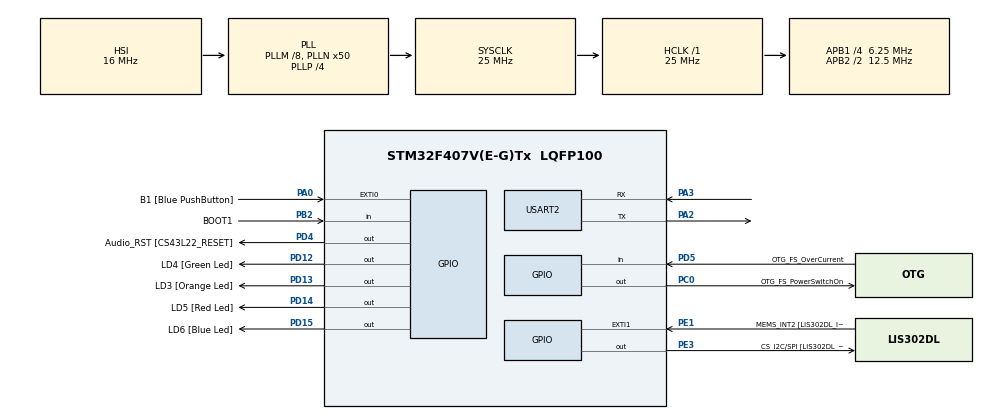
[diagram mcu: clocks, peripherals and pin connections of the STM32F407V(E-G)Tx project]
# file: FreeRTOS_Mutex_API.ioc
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Mcu.Family=STM32F4
Mcu.Name=STM32F407V(E-G)Tx
Mcu.Package=LQFP100
NVIC.PriorityGroup=NVIC_PRIORITYGROUP_4
NVIC.TIM6_DAC_IRQn=true\:0\:0\:false\:false\:true\:false\:true
NVIC.TimeBase=TIM6_DAC_IRQn
NVIC.TimeBaseIP=TIM6
PA0-WKUP.GPIO_Label=B1 [Blue PushButton]
PA0-WKUP.Signal=GPXTI0
PA10.GPIO_Label=OTG_FS_ID
PA10.GPIO_Mode=GPIO_MODE_AF_PP
PA10.GPIO_PuPd=GPIO_NOPULL
PA10.GPIO_Speed=GPIO_SPEED_FREQ_LOW
PA10.Signal=USB_OTG_FS_ID
PA11.GPIO_Label=OTG_FS_DM
PA11.GPIO_Mode=GPIO_MODE_AF_PP
PA11.GPIO_PuPd=GPIO_NOPULL
PA11.GPIO_Speed=GPIO_SPEED_FREQ_LOW
PA11.Signal=USB_OTG_FS_DM
PA12.GPIO_Label=OTG_FS_DP
PA12.GPIO_Mode=GPIO_MODE_AF_PP
PA12.GPIO_PuPd=GPIO_NOPULL
PA12.GPIO_Speed=GPIO_SPEED_FREQ_LOW
PA12.Signal=USB_OTG_FS_DP
PA13.GPIO_Label=SWDIO
PA13.Signal=SYS_JTMS-SWDIO
PA14.GPIO_Label=SWCLK
PA14.Signal=SYS_JTCK-SWCLK
PA2.Mode=Asynchronous
PA2.Signal=USART2_TX
PA3.Mode=Asynchronous
PA3.Signal=USART2_RX
PA4.GPIO_Label=I2S3_WS [CS43L22_LRCK]
PA4.GPIO_Mode=GPIO_MODE_AF_PP
PA4.GPIO_PuPd=GPIO_NOPULL
PA4.GPIO_Speed=GPIO_SPEED_FREQ_LOW
PA4.Signal=I2S3_WS
PA5.GPIO_Label=SPI1_SCK [LIS302DL_SCL/SPC]
PA5.GPIO_Mode=GPIO_MODE_AF_PP
PA5.GPIO_PuPd=GPIO_NOPULL
PA5.GPIO_Speed=GPIO_SPEED_FREQ_LOW
PA5.Signal=SPI1_SCK
PA6.GPIO_Label=SPI1_MISO [LIS302DL_SDO]
PA6.GPIO_Mode=GPIO_MODE_AF_PP
PA6.GPIO_PuPd=GPIO_NOPULL
PA6.GPIO_Speed=GPIO_SPEED_FREQ_LOW
PA6.Signal=SPI1_MISO
PA7.GPIO_Label=SPI1_MOSI [LIS302DL_SDA/SDI/SDO]
PA7.GPIO_Mode=GPIO_MODE_AF_PP
PA7.GPIO_PuPd=GPIO_NOPULL
PA7.GPIO_Speed=GPIO_SPEED_FREQ_LOW
PA7.Signal=SPI1_MOSI
PA9.GPIO_Label=VBUS_FS
PA9.GPIO_Mode=GPIO_MODE_INPUT
PA9.GPIO_PuPd=GPIO_NOPULL
PA9.Signal=USB_OTG_FS_VBUS
PB10.GPIO_Label=CLK_IN [MP45DT02_CLK]
PB10.GPIO_Mode=GPIO_MODE_AF_PP
PB10.GPIO_PuPd=GPIO_NOPULL
PB10.GPIO_Speed=GPIO_SPEED_FREQ_LOW
PB10.Signal=I2S2_CK
PB2.GPIO_Label=BOOT1
PB2.GPIO_Mode=GPIO_MODE_INPUT
PB2.GPIO_PuPd=GPIO_NOPULL
PB2.Signal=GPIO_Input
PB3.GPIO_Label=SWO
PB3.Signal=SYS_JTDO-SWO
PB6.GPIO_Label=Audio_SCL [CS43L22_SCL]
PB6.GPIO_Mode=GPIO_MODE_AF_OD
PB6.GPIO_PuPd=GPIO_NOPULL
PB6.GPIO_Speed=GPIO_SPEED_FREQ_LOW
PB6.Signal=I2C1_SCL
PB9.GPIO_Label=Audio_SDA [CS43L22_SDA]
PB9.GPIO_Mode=GPIO_MODE_AF_OD
PB9.GPIO_PuPd=GPIO_NOPULL
PB9.GPIO_Speed=GPIO_SPEED_FREQ_LOW
PB9.Signal=I2C1_SDA
PC0.GPIO_Label=OTG_FS_PowerSwitchOn
PC0.GPIO_PuPd=GPIO_NOPULL
PC0.GPIO_Speed=GPIO_SPEED_FREQ_LOW
PC0.PinState=GPIO_PIN_SET
PC0.Signal=GPIO_Output
PC10.GPIO_Label=I2S3_SCK [CS43L22_SCLK]
PC10.GPIO_Mode=GPIO_MODE_AF_PP
PC10.GPIO_PuPd=GPIO_NOPULL
PC10.GPIO_Speed=GPIO_SPEED_FREQ_LOW
PC10.Signal=I2S3_CK
PC12.GPIO_Label=I2S3_SD [CS43L22_SDIN]
PC12.GPIO_Mode=GPIO_MODE_AF_PP
PC12.GPIO_PuPd=GPIO_NOPULL
PC12.GPIO_Speed=GPIO_SPEED_FREQ_LOW
PC12.Signal=I2S3_SD
PC14-OSC32_IN.GPIO_Label=PC14-OSC32_IN
PC14-OSC32_IN.Signal=RCC_OSC32_IN
PC15-OSC32_OUT.GPIO_Label=PC15-OSC32_OUT
PC15-OSC32_OUT.Signal=RCC_OSC32_OUT
PC3.GPIO_Label=PDM_OUT [MP45DT02_DOUT]
PC3.GPIO_Mode=GPIO_MODE_AF_PP
PC3.GPIO_PuPd=GPIO_NOPULL
PC3.GPIO_Speed=GPIO_SPEED_FREQ_LOW
PC3.Signal=I2S2_SD
PC7.GPIO_Label=I2S3_MCK [CS43L22_MCLK]
PC7.GPIO_Mode=GPIO_MODE_AF_PP
PC7.GPIO_PuPd=GPIO_NOPULL
PC7.GPIO_Speed=GPIO_SPEED_FREQ_LOW
PC7.Signal=I2S3_MCK
PD12.GPIO_Label=LD4 [Green Led]
PD12.GPIO_PuPd=GPIO_NOPULL
PD12.GPIO_Speed=GPIO_SPEED_FREQ_LOW
PD12.Signal=GPIO_Output
PD13.GPIO_Label=LD3 [Orange Led]
PD13.GPIO_PuPd=GPIO_NOPULL
PD13.GPIO_Speed=GPIO_SPEED_FREQ_LOW
PD13.Signal=GPIO_Output
PD14.GPIO_Label=LD5 [Red Led]
PD14.GPIO_PuPd=GPIO_NOPULL
PD14.GPIO_Speed=GPIO_SPEED_FREQ_LOW
PD14.Signal=GPIO_Output
PD15.GPIO_Label=LD6 [Blue Led]
PD15.GPIO_PuPd=GPIO_NOPULL
PD15.GPIO_Speed=GPIO_SPEED_FREQ_LOW
PD15.Signal=GPIO_Output
PD4.GPIO_Label=Audio_RST [CS43L22_RESET]
PD4.GPIO_PuPd=GPIO_NOPULL
PD4.GPIO_Speed=GPIO_SPEED_FREQ_LOW
PD4.Signal=GPIO_Output
PD5.GPIO_Label=OTG_FS_OverCurrent
PD5.GPIO_Mode=GPIO_MODE_INPUT
PD5.GPIO_PuPd=GPIO_NOPULL
PD5.Signal=GPIO_Input
PE1.GPIO_Label=MEMS_INT2 [LIS302DL_INT2]
PE1.GPIO_ModeDefaultEXTI=GPIO_MODE_EVT_RISING
PE1.GPIO_PuPd=GPIO_NOPULL
PE1.Signal=GPXTI1
PE3.GPIO_Label=CS_I2C/SPI [LIS302DL_CS_I2C/SPI]
PE3.GPIO_PuPd=GPIO_NOPULL
PE3.GPIO_Speed=GPIO_SPEED_FREQ_LOW
PE3.Signal=GPIO_Output
PH0-OSC_IN.GPIO_Label=PH0-OSC_IN
PH0-OSC_IN.Signal=RCC_OSC_IN
PH1-OSC_OUT.GPIO_Label=PH1-OSC_OUT
PH1-OSC_OUT.Signal=RCC_OSC_OUT
ProjectManager.HeapSize=0x200
ProjectManager.StackSize=0x400
ProjectManager.TargetToolchain=STM32CubeIDE
RCC.48MHZClocksFreq_Value=14285714.285714285
RCC.AHBFreq_Value=25000000
RCC.APB1CLKDivider=RCC_HCLK_DIV4
RCC.APB1Freq_Value=6250000
RCC.APB1TimFreq_Value=12500000
RCC.APB2CLKDivider=RCC_HCLK_DIV2
RCC.APB2Freq_Value=12500000
RCC.APB2TimFreq_Value=25000000
RCC.CortexFreq_Value=25000000
RCC.HCLKFreq_Value=25000000
RCC.HSE_VALUE=8000000
RCC.HSI_VALUE=16000000
RCC.LSE_VALUE=32768
RCC.PLLM=8
RCC.PLLN=50
RCC.PLLP=RCC_PLLP_DIV4
RCC.PLLQ=7
RCC.SYSCLKFreq_VALUE=25000000
RCC.SYSCLKSource=RCC_SYSCLKSOURCE_PLLCLK
RCC.VCOOutputFreq_Value=100000000
USART2.VirtualMode=VM_ASYNC
VP_SYS_VS_tim6.Mode=TIM6
board=STM32F407G-DISC1

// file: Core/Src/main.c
/* USER CODE BEGIN Header */
/**
  ******************************************************************************
  * @file           : main.c
  * @brief          : Main program body
  ******************************************************************************
  * @attention
  *
  * Copyright (c) 2024 STMicroelectronics.
  * All rights reserved.
  *
  * This software is licensed under terms that can be found in the LICENSE file
  * in the root directory of this software component.
  * If no LICENSE file comes with this software, it is provided AS-IS.
  *
  ******************************************************************************
  */
/* USER CODE END Header */
#include "main.h"

UART_HandleTypeDef huart2;

/* USER CODE BEGIN PV */
TaskHandle_t Task1_handle;
TaskHandle_t Task2_handle;

xSemaphoreHandle SemaMutex;
/* USER CODE END PV */

void SystemClock_Config(void);
static void MX_GPIO_Init(void);
static void MX_USART2_UART_Init(void);
/* USER CODE BEGIN PFP */
static void Task_handler(void *pvparameters);
//void Task2_handler(void *pvparameters);
void print_msg(char *msg);
static void manage(const char* msg);
/* USER CODE END PFP */

int main(void)
{

  /* MCU Configuration--------------------------------------------------------*/

  /* Reset of all peripherals, Initializes the Flash interface and the Systick. */
  HAL_Init();

  /* Configure the system clock */
  SystemClock_Config();

  /* Initialize all configured peripherals */
  MX_GPIO_Init();
  MX_USART2_UART_Init();
  /* USER CODE BEGIN 2 */

  SemaMutex= xSemaphoreCreateMutex();
  srand( 567 );

  if (SemaMutex != NULL)
  {
  xTaskCreate(Task_handler, "Task-1", 500, "Task-1 is running\r\n", 2, NULL);

  xTaskCreate(Task_handler, "Task-2", 500, "Task-2 is running\r\n", 4, NULL);

  vTaskStartScheduler();
  }
  else
  {
	  printf("%s","Failed to create mutex\r\n");
  }
  /* USER CODE END 2 */

  /* Infinite loop */
  while (1)
  {

  }
}

void SystemClock_Config(void)
{
  RCC_OscInitTypeDef RCC_OscInitStruct = {0};
  RCC_ClkInitTypeDef RCC_ClkInitStruct = {0};

  /** Configure the main internal regulator output voltage
  */
  __HAL_RCC_PWR_CLK_ENABLE();
  __HAL_PWR_VOLTAGESCALING_CONFIG(PWR_REGULATOR_VOLTAGE_SCALE1);
  /** Initializes the RCC Oscillators according to the specified parameters
  * in the RCC_OscInitTypeDef structure.
  */
  RCC_OscInitStruct.OscillatorType = RCC_OSCILLATORTYPE_HSI;
  RCC_OscInitStruct.HSIState = RCC_HSI_ON;
  RCC_OscInitStruct.HSICalibrationValue = RCC_HSICALIBRATION_DEFAULT;
  RCC_OscInitStruct.PLL.PLLState = RCC_PLL_ON;
  RCC_OscInitStruct.PLL.PLLSource = RCC_PLLSOURCE_HSI;
  RCC_OscInitStruct.PLL.PLLM = 8;
  RCC_OscInitStruct.PLL.PLLN = 50;
  RCC_OscInitStruct.PLL.PLLP = RCC_PLLP_DIV4;
  RCC_OscInitStruct.PLL.PLLQ = 7;
  if (HAL_RCC_OscConfig(&RCC_OscInitStruct) != HAL_OK)
  {
    Error_Handler();
  }
  /** Initializes the CPU, AHB and APB buses clocks
  */
  RCC_ClkInitStruct.ClockType = RCC_CLOCKTYPE_HCLK|RCC_CLOCKTYPE_SYSCLK
                              |RCC_CLOCKTYPE_PCLK1|RCC_CLOCKTYPE_PCLK2;
  RCC_ClkInitStruct.SYSCLKSource = RCC_SYSCLKSOURCE_PLLCLK;
  RCC_ClkInitStruct.AHBCLKDivider = RCC_SYSCLK_DIV1;
  RCC_ClkInitStruct.APB1CLKDivider = RCC_HCLK_DIV4;
  RCC_ClkInitStruct.APB2CLKDivider = RCC_HCLK_DIV2;

  if (HAL_RCC_ClockConfig(&RCC_ClkInitStruct, FLASH_LATENCY_0) != HAL_OK)
  {
    Error_Handler();
  }
}

static void MX_USART2_UART_Init(void)
{

  huart2.Instance = USART2;
  huart2.Init.BaudRate = 115200;
  huart2.Init.WordLength = UART_WORDLENGTH_8B;
  huart2.Init.StopBits = UART_STOPBITS_1;
  huart2.Init.Parity = UART_PARITY_NONE;
  huart2.Init.Mode = UART_MODE_TX_RX;
  huart2.Init.HwFlowCtl = UART_HWCONTROL_NONE;
  huart2.Init.OverSampling = UART_OVERSAMPLING_16;
  if (HAL_UART_Init(&huart2) != HAL_OK)
  {
    Error_Handler();
  }

}

static void MX_GPIO_Init(void)
{
  GPIO_InitTypeDef GPIO_InitStruct = {0};

  /* GPIO Ports Clock Enable */
  __HAL_RCC_GPIOE_CLK_ENABLE();
  __HAL_RCC_GPIOC_CLK_ENABLE();
  __HAL_RCC_GPIOH_CLK_ENABLE();
  __HAL_RCC_GPIOA_CLK_ENABLE();
  __HAL_RCC_GPIOB_CLK_ENABLE();
  __HAL_RCC_GPIOD_CLK_ENABLE();

  /*Configure GPIO pin Output Level */
  HAL_GPIO_WritePin(CS_I2C_SPI_GPIO_Port, CS_I2C_SPI_Pin, GPIO_PIN_RESET);

  /*Configure GPIO pin Output Level */
  HAL_GPIO_WritePin(OTG_FS_PowerSwitchOn_GPIO_Port, OTG_FS_PowerSwitchOn_Pin, GPIO_PIN_SET);

  /*Configure GPIO pin Output Level */
  HAL_GPIO_WritePin(GPIOD, LD4_Pin|LD3_Pin|LD5_Pin|LD6_Pin
                          |Audio_RST_Pin, GPIO_PIN_RESET);

  /*Configure GPIO pin : CS_I2C_SPI_Pin */
  GPIO_InitStruct.Pin = CS_I2C_SPI_Pin;
  GPIO_InitStruct.Mode = GPIO_MODE_OUTPUT_PP;
  GPIO_InitStruct.Pull = GPIO_NOPULL;
  GPIO_InitStruct.Speed = GPIO_SPEED_FREQ_LOW;
  HAL_GPIO_Init(CS_I2C_SPI_GPIO_Port, &GPIO_InitStruct);

  /*Configure GPIO pin : OTG_FS_PowerSwitchOn_Pin */
  GPIO_InitStruct.Pin = OTG_FS_PowerSwitchOn_Pin;
  GPIO_InitStruct.Mode = GPIO_MODE_OUTPUT_PP;
  GPIO_InitStruct.Pull = GPIO_NOPULL;
  GPIO_InitStruct.Speed = GPIO_SPEED_FREQ_LOW;
  HAL_GPIO_Init(OTG_FS_PowerSwitchOn_GPIO_Port, &GPIO_InitStruct);

  /*Configure GPIO pin : PDM_OUT_Pin */
  GPIO_InitStruct.Pin = PDM_OUT_Pin;
  GPIO_InitStruct.Mode = GPIO_MODE_AF_PP;
  GPIO_InitStruct.Pull = GPIO_NOPULL;
  GPIO_InitStruct.Speed = GPIO_SPEED_FREQ_LOW;
  GPIO_InitStruct.Alternate = GPIO_AF5_SPI2;
  HAL_GPIO_Init(PDM_OUT_GPIO_Port, &GPIO_InitStruct);

  /*Configure GPIO pin : B1_Pin */
  GPIO_InitStruct.Pin = B1_Pin;
  GPIO_InitStruct.Mode = GPIO_MODE_IT_RISING;
  GPIO_InitStruct.Pull = GPIO_NOPULL;
  HAL_GPIO_Init(B1_GPIO_Port, &GPIO_InitStruct);

  /*Configure GPIO pin : I2S3_WS_Pin */
  GPIO_InitStruct.Pin = I2S3_WS_Pin;
  GPIO_InitStruct.Mode = GPIO_MODE_AF_PP;
  GPIO_InitStruct.Pull = GPIO_NOPULL;
  GPIO_InitStruct.Speed = GPIO_SPEED_FREQ_LOW;
  GPIO_InitStruct.Alternate = GPIO_AF6_SPI3;
  HAL_GPIO_Init(I2S3_WS_GPIO_Port, &GPIO_InitStruct);

  /*Configure GPIO pins : SPI1_SCK_Pin SPI1_MISO_Pin SPI1_MOSI_Pin */
  GPIO_InitStruct.Pin = SPI1_SCK_Pin|SPI1_MISO_Pin|SPI1_MOSI_Pin;
  GPIO_InitStruct.Mode = GPIO_MODE_AF_PP;
  GPIO_InitStruct.Pull = GPIO_NOPULL;
  GPIO_InitStruct.Speed = GPIO_SPEED_FREQ_LOW;
  GPIO_InitStruct.Alternate = GPIO_AF5_SPI1;
  HAL_GPIO_Init(GPIOA, &GPIO_InitStruct);

  /*Configure GPIO pin : BOOT1_Pin */
  GPIO_InitStruct.Pin = BOOT1_Pin;
  GPIO_InitStruct.Mode = GPIO_MODE_INPUT;
  GPIO_InitStruct.Pull = GPIO_NOPULL;
  HAL_GPIO_Init(BOOT1_GPIO_Port, &GPIO_InitStruct);

  /*Configure GPIO pin : CLK_IN_Pin */
  GPIO_InitStruct.Pin = CLK_IN_Pin;
  GPIO_InitStruct.Mode = GPIO_MODE_AF_PP;
  GPIO_InitStruct.Pull = GPIO_NOPULL;
  GPIO_InitStruct.Speed = GPIO_SPEED_FREQ_LOW;
  GPIO_InitStruct.Alternate = GPIO_AF5_SPI2;
  HAL_GPIO_Init(CLK_IN_GPIO_Port, &GPIO_InitStruct);

  /*Configure GPIO pins : LD4_Pin LD3_Pin LD5_Pin LD6_Pin
                           Audio_RST_Pin */
  GPIO_InitStruct.Pin = LD4_Pin|LD3_Pin|LD5_Pin|LD6_Pin
                          |Audio_RST_Pin;
  GPIO_InitStruct.Mode = GPIO_MODE_OUTPUT_PP;
  GPIO_InitStruct.Pull = GPIO_NOPULL;
  GPIO_InitStruct.Speed = GPIO_SPEED_FREQ_LOW;
  HAL_GPIO_Init(GPIOD, &GPIO_InitStruct);

  /*Configure GPIO pins : I2S3_MCK_Pin I2S3_SCK_Pin I2S3_SD_Pin */
  GPIO_InitStruct.Pin = I2S3_MCK_Pin|I2S3_SCK_Pin|I2S3_SD_Pin;
  GPIO_InitStruct.Mode = GPIO_MODE_AF_PP;
  GPIO_InitStruct.Pull = GPIO_NOPULL;
  GPIO_InitStruct.Speed = GPIO_SPEED_FREQ_LOW;
  GPIO_InitStruct.Alternate = GPIO_AF6_SPI3;
  HAL_GPIO_Init(GPIOC, &GPIO_InitStruct);

  /*Configure GPIO pin : VBUS_FS_Pin */
  GPIO_InitStruct.Pin = VBUS_FS_Pin;
  GPIO_InitStruct.Mode = GPIO_MODE_INPUT;
  GPIO_InitStruct.Pull = GPIO_NOPULL;
  HAL_GPIO_Init(VBUS_FS_GPIO_Port, &GPIO_InitStruct);

  /*Configure GPIO pins : OTG_FS_ID_Pin OTG_FS_DM_Pin OTG_FS_DP_Pin */
  GPIO_InitStruct.Pin = OTG_FS_ID_Pin|OTG_FS_DM_Pin|OTG_FS_DP_Pin;
  GPIO_InitStruct.Mode = GPIO_MODE_AF_PP;
  GPIO_InitStruct.Pull = GPIO_NOPULL;
  GPIO_InitStruct.Speed = GPIO_SPEED_FREQ_LOW;
  GPIO_InitStruct.Alternate = GPIO_AF10_OTG_FS;
  HAL_GPIO_Init(GPIOA, &GPIO_InitStruct);

  /*Configure GPIO pin : OTG_FS_OverCurrent_Pin */
  GPIO_InitStruct.Pin = OTG_FS_OverCurrent_Pin;
  GPIO_InitStruct.Mode = GPIO_MODE_INPUT;
  GPIO_InitStruct.Pull = GPIO_NOPULL;
  HAL_GPIO_Init(OTG_FS_OverCurrent_GPIO_Port, &GPIO_InitStruct);

  /*Configure GPIO pins : Audio_SCL_Pin Audio_SDA_Pin */
  GPIO_InitStruct.Pin = Audio_SCL_Pin|Audio_SDA_Pin;
  GPIO_InitStruct.Mode = GPIO_MODE_AF_OD;
  GPIO_InitStruct.Pull = GPIO_NOPULL;
  GPIO_InitStruct.Speed = GPIO_SPEED_FREQ_LOW;
  GPIO_InitStruct.Alternate = GPIO_AF4_I2C1;
  HAL_GPIO_Init(GPIOB, &GPIO_InitStruct);

  /*Configure GPIO pin : MEMS_INT2_Pin */
  GPIO_InitStruct.Pin = MEMS_INT2_Pin;
  GPIO_InitStruct.Mode = GPIO_MODE_EVT_RISING;
  GPIO_InitStruct.Pull = GPIO_NOPULL;
  HAL_GPIO_Init(MEMS_INT2_GPIO_Port, &GPIO_InitStruct);

}

/* USER CODE BEGIN 4 */
/*
void Task1_handler(void *pvparameters)
{
	const char *msg="Task 1 is running\r\n";
	uint32_t no=0;
	while(1)
	{
		xSemaphoreTake(SemaMutex,portMAX_DELAY);
		no=rand() & 0XF;
		//sprintf(usr_msg,"%s", msg);
		//print_msg(usr_msg);
		printf("%s\n",msg);
		//vTaskDelay(pdMS_TO_TICKS(500));

	//	vTaskDelay(pdMS_TO_TICKS(500));
		xSemaphoreGive(SemaMutex);
		vTaskDelay(no);
	}
}

*/

static void manage(const char* msg)
{
	//xSemaphoreTake( SemaMutex, portMAX_DELAY );
	printf("%s", msg);
	//xSemaphoreGive(SemaMutex);

}
static void Task_handler(void *pvparameters)
{

	const char* msg=(const char*)pvparameters;

	while(1)
	{

		manage(msg);

		vTaskDelay(rand() & 0XF);
	}
}

void print_msg(char *msg)
{
	HAL_UART_Transmit(&huart2, (uint8_t*)msg, strlen(msg), HAL_MAX_DELAY);

}

/* USER CODE END 4 */

void HAL_TIM_PeriodElapsedCallback(TIM_HandleTypeDef *htim)
{
  if (htim->Instance == TIM6) {
    HAL_IncTick();
  }
}

void Error_Handler(void)
{
  __disable_irq();
  while (1)
  {
  }
}
